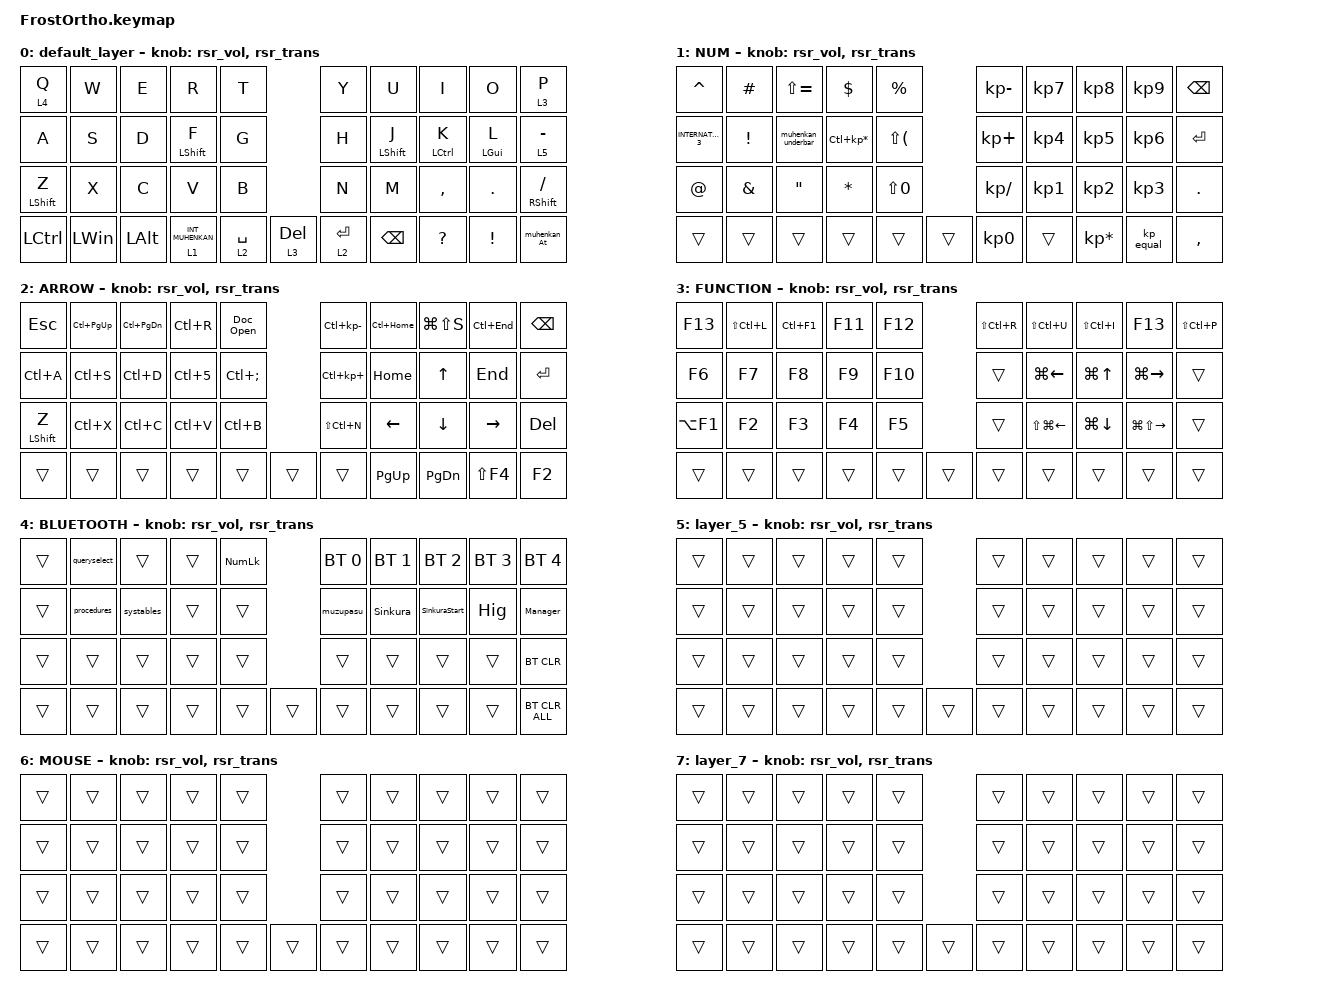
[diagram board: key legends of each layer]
#include <input/processors.dtsi>
#include <behaviors/runtime-sensor-rotate.dtsi>
#include <behaviors/runtime-sensor-rotate.dtsi>
#include <behaviors.dtsi>
#include <dt-bindings/zmk/bt.h>
#include <dt-bindings/zmk/keys.h>
#include <dt-bindings/zmk/pointing.h>

// OS設定を日本語キーボードのまま使用するための変換定義

#define JP_DQUOTE       AT
#define JP_AMPERSAND    CARET
#define JP_QUOTE        AMPERSAND
#define JP_EQUAL        UNDER
#define JP_CARET        EQUAL
#define JP_YEN          0x89
#define JP_PLUS         COLON
#define JP_TILDE        PLUS
#define JP_PIPE         LS(0x89)
#define JP_AT           LEFT_BRACKET
#define JP_COLON        SINGLE_QUOTE
#define JP_ASTERISK     DOUBLE_QUOTES
#define JP_BACKQUOTE    LEFT_BRACE
#define JP_UNDERSCORE   LS(0x87)
#define JP_SEMICOLON    SEMICOLON
#define JP_LBRACKET     RIGHT_BRACKET
#define JP_RBRACKET     BACKSLASH
#define JP_LPAREN       ASTERISK
#define JP_RPAREN       LEFT_PARENTHESIS
#define JP_LBRACE       RIGHT_BRACE
#define JP_RBRACE       PIPE
#define JP_KANA         LANGUAGE_1
#define JP_EISU         LANGUAGE_2
#define JP_HANZEN       GRAVE

//

#define MOUSE 6

&mt {
    flavor = "balanced";
    quick-tap-ms = <0>;
};

// AML クリックしたときにタイムアウトを延長

&mkp_input_listener { input-processors = <&zip_temp_layer 6 10000>; };

/ {
    combos {
        compatible = "zmk,combos";

        esc {
            bindings = <&kp ESCAPE>;
            key-positions = <0 1>;
        };

        tab {
            bindings = <&kp TAB>;
            key-positions = <10 11>;
        };

        lang2 {
            bindings = <&kp LANGUAGE_2>;
            key-positions = <12 13>;
        };

        lang1 {
            bindings = <&kp LANGUAGE_1>;
            key-positions = <16 17>;
        };

        ControlZ {
            bindings = <&kp LC(Z)>;
            key-positions = <20 21>;
        };

        controlC {
            bindings = <&kp LC(LS(C))>;
            key-positions = <21 22>;
        };

        controlV {
            bindings = <&kp LC(LS(V))>;
            key-positions = <22 23>;
        };

        controlD {
            bindings = <&kp LC(D)>;
            key-positions = <11 12>;
        };

        leftclick {
            bindings = <&mkp MB1>;
            key-positions = <6 7>;
        };

        rightclick {
            bindings = <&mkp MB2>;
            key-positions = <7 8>;
        };

        WindowsLock {
            bindings = <&kp LG(L)>;
            key-positions = <5 9>;
        };

        backclick {
            bindings = <&mkp MB4>;
            key-positions = <8 9>;
        };

        parenthess {
            bindings = <&parentheses>;
            key-positions = <16 15>;
        };

        bracket {
            bindings = <&brackets>;
            key-positions = <25 26>;
        };

        coron {
            bindings = <&kp APOSTROPHE>;
            key-positions = <5 6>;
        };

        Semicolon {
            bindings = <&kp SEMICOLON>;
            key-positions = <36 37>;
        };
    };

    macros {
        to_layer_0: to_layer_0 {
            compatible = "zmk,behavior-macro-one-param";
            #binding-cells = <1>;
            bindings = <&to 0 &macro_param_1to1 &kp MACRO_PLACEHOLDER>;
            label = "TO_LAYER_0";
        };

        screenshot: screenshot {
            compatible = "zmk,behavior-macro";
            #binding-cells = <0>;
            bindings =
                <&to 7>,
                <&macro_press>,
                <&kp LEFT_WIN &kp LEFT_SHIFT &kp S>,
                <&macro_release>,
                <&kp LEFT_WIN &kp LEFT_SHIFT &kp S>;

            label = "SCREENSHOT";
        };

        muhenkan_At: muhenkan_At {
            compatible = "zmk,behavior-macro";
            #binding-cells = <0>;
            bindings = <&kp LANGUAGE_2 &kp LEFT_BRACKET>;
            label = "MUHENKAN_AT";
        };

        Doc_Open: Doc_Open {
            compatible = "zmk,behavior-macro";
            #binding-cells = <0>;
            bindings =
                <&kp LC(C)>,
                <&macro_wait_time 1000>,
                <&kp LG(R)>,
                <&macro_wait_time 1000>,
                <&kp LC(V)>,
                <&macro_wait_time 750>,
                <&kp KP_ENTER>;

            label = "DOC_OPEN";
        };

        muhenkan_underbar: muhenkan_underbar {
            compatible = "zmk,behavior-macro";
            #binding-cells = <0>;
            bindings = <&kp LANGUAGE_2 &kp JP_UNDERSCORE>;
            label = "MUHENKAN_UNDERBAR";
        };

        parentheses: parentheses {
            compatible = "zmk,behavior-macro";
            #binding-cells = <0>;
            bindings = <&kp LANGUAGE_2 &kp ASTERISK &kp LEFT_PARENTHESIS &kp LEFT_ARROW>;
            label = "PARENTHESES";
        };

        kp_equal: kp_equal {
            compatible = "zmk,behavior-macro";
            #binding-cells = <0>;
            bindings = <&kp LANGUAGE_2 &kp LS(UNDERSCORE)>;
            label = "KP_EQUAL";
        };

        kp_00: kp_00 {
            compatible = "zmk,behavior-macro";
            #binding-cells = <0>;
            bindings = <&kp KP_NUMBER_0 &kp KP_NUMBER_0>;
            label = "KP_00";
        };

        queryselect: queryselect {
            compatible = "zmk,behavior-macro";
            #binding-cells = <0>;
            bindings = <&kp S &kp E &kp L &kp E &kp C &kp T &kp SPACE &kp DOUBLE_QUOTES &kp SPACE &kp RET &kp F &kp R &kp O &kp M &kp SPACE>;
            label = "QUERYSELECT";
        };

        brackets: brackets {
            compatible = "zmk,behavior-macro";
            #binding-cells = <0>;
            bindings = <&kp LANGUAGE_2 &kp RBKT &kp BSLH &kp LEFT_ARROW>;
            label = "BRACKETS";
        };

        muzupasu: muzupasu {
            compatible = "zmk,behavior-macro";
            #binding-cells = <0>;
            bindings = <&kp LS(P) &kp LEFT_BRACKET &kp S &kp S &kp W &kp N0 &kp R &kp D>;
            label = "MUZUPASU";
        };

        Sinkura: Sinkura {
            compatible = "zmk,behavior-macro";
            #binding-cells = <0>;
            bindings = <&kp M &kp LS(R) &kp N8 &kp J &kp F &kp POUND &kp V &kp W &kp LS(A) &kp A &kp Y>;
            label = "SINKURA";
        };

        SinkuraStart: SinkuraStart {
            compatible = "zmk,behavior-macro";
            #binding-cells = <0>;
            bindings = <&kp LS(S) &kp E &kp C &kp U &kp R &kp E &kp LEFT_BRACKET &kp N0 &kp B &kp EXCL &kp C &kp N7>;
            label = "SINKURASTART";
        };

        sp_helptext: sp_helptext {
            compatible = "zmk,behavior-macro";
            #binding-cells = <0>;
            bindings = <&none &kp S &kp P &kp UNDER &kp H &kp E &kp L &kp P &kp T &kp E &kp X &kp T>;
            label = "SP_HELPTEXT";
        };

        procedures: procedures {
            compatible = "zmk,behavior-macro";
            #binding-cells = <0>;
            bindings = <&none &kp S &kp Y &kp S &kp DOT &kp P &kp R &kp O &kp C &kp E &kp D &kp U &kp R &kp E &kp S &kp S &kp Y &kp S &kp DOT &kp P &kp R &kp O &kp C &kp E &kp D &kp U &kp R &kp E &kp S &kp RET &kp W &kp H &kp E &kp R &kp E &kp SPACE &kp N &kp A &kp M &kp E &kp SPACE &kp L &kp I &kp K &kp E &kp SPACE &kp SQT &kp PRCNT &kp PRCNT &kp SQT>;
            label = "PROCEDURES";
        };

        systables: systables {
            compatible = "zmk,behavior-macro";
            #binding-cells = <0>;
            bindings = <&kp S &kp Y &kp S &kp DOT &kp T &kp A &kp B &kp L &kp E &kp S &kp RET &kp W &kp H &kp E &kp R &kp E &kp SPACE &kp N &kp A &kp M &kp E &kp SPACE &kp L &kp I &kp K &kp E &kp SPACE &kp SQT &kp PRCNT &kp PRCNT &kp SQT>;
            label = "SYSTABLES";
        };

        mstsc: mstsc {
            compatible = "zmk,behavior-macro";
            #binding-cells = <0>;
            bindings =
                <&kp LG(R)>,
                <&macro_wait_time 1000>,
                <&kp M &kp S &kp T &kp S &kp C &kp KP_ENTER>;

            label = "MSTSC";
        };

        Hig: Hig {
            compatible = "zmk,behavior-macro";
            #binding-cells = <0>;
            bindings = <&kp N5 &kp N0 &kp N0 &kp D &kp LEFT_BRACKET &kp Y &kp S &kp EXCL &kp LS(H) &kp N1 &kp G>;
            label = "HIG";
        };

        Manager: Manager {
            compatible = "zmk,behavior-macro";
            #binding-cells = <0>;
            bindings =
                <&none>,
                <&macro_press>,
                <&kp LS(B) &kp LS(I) &kp LS(C) &kp N7 &kp LS(M) &kp A &kp N &kp A &kp G &kp E &kp R>;

            label = "MANAGER";
        };
    };

    behaviors {
        lt_to_layer_0: lt_to_layer_0 {
            compatible = "zmk,behavior-hold-tap";
            label = "LAYER_TAP_TO_0";
            bindings = <&mo>, <&to_layer_0>;

            #binding-cells = <2>;
            tapping-term-ms = <300>;
        };

        // Kyemap Editor用

        scroll_up_down: behavior_sensor_rotate_mouse_wheel_up_down {
            compatible = "zmk,behavior-sensor-rotate";
            #sensor-binding-cells = <0>;
            tap-ms = <20>;
            bindings = <&msc SCRL_UP>, <&msc SCRL_DOWN>;
        };

        vol_up_down: vol_up_down {
            compatible = "zmk,behavior-sensor-rotate";
            #sensor-binding-cells = <0>;
            tap-ms = <5>;
            bindings = <&kp C_VOL_DN>, <&kp C_VOL_UP>;
        };

        // DYA Studio用

        rsr_vol: rsr_vol {
            compatible = "zmk,behavior-runtime-sensor-rotate";
            #sensor-binding-cells = <0>;
            tap-ms = <5>;
            cw-binding = <&kp C_VOL_DN>;
            ccw-binding = <&kp C_VOL_UP>;
        };
    };

    keymap {
        compatible = "zmk,keymap";

        default_layer {
            bindings = <
&lt 4 Q           &kp W         &kp E         &kp R               &kp T                          &kp Y        &kp U             &kp I         &kp O           &lt 3 P
&kp A             &kp S         &kp D         &mt LEFT_SHIFT F    &kp G                          &kp H        &mt LEFT_SHIFT J  &mt LCTRL K   &mt LEFT_GUI L  &lt 5 MINUS
&mt LEFT_SHIFT Z  &kp X         &kp C         &kp V               &kp B                          &kp N        &kp M             &kp COMMA     &kp PERIOD      &mt RSHIFT SLASH
&kp LEFT_CONTROL  &kp LEFT_WIN  &kp LEFT_ALT  &lt 1 INT_MUHENKAN  &lt 2 SPACE  &lt 3 DELETE      &lt 2 ENTER  &kp BACKSPACE     &kp QUESTION  &kp EXCL        &muhenkan_At
            >;

            sensor-bindings = <&rsr_vol &rsr_trans>;
        };

        NUM {
            bindings = <
&kp CARET            &kp HASH         &kp LS(EQUAL)       &kp DOLLAR           &kp PERCENT                           &kp KP_MINUS     &kp KP_NUMBER_7  &kp KP_NUMBER_8  &kp KP_NUMBER_9  &kp BACKSPACE
&kp INTERNATIONAL_3  &kp EXCLAMATION  &muhenkan_underbar  &kp LC(KP_MULTIPLY)  &kp LS(LEFT_PARENTHESIS)              &kp KP_PLUS      &kp KP_NUMBER_4  &kp KP_NUMBER_5  &kp KP_NUMBER_6  &kp ENTER
&kp AT_SIGN          &kp AMPERSAND    &kp DOUBLE_QUOTES   &kp ASTERISK         &kp LS(N0)                            &kp KP_SLASH     &kp KP_N1        &kp KP_NUMBER_2  &kp KP_NUMBER_3  &kp PERIOD
&trans               &trans           &trans              &trans               &trans                    &trans      &kp KP_NUMBER_0  &trans           &kp KP_MULTIPLY  &kp_equal        &kp COMMA
            >;

            sensor-bindings = <&rsr_vol &rsr_trans>;
        };

        ARROW {
            bindings = <
&kp ESCAPE        &kp LC(PAGE_UP)  &kp LC(PAGE_DOWN)  &kp LC(R)   &Doc_Open                      &kp LC(KP_MINUS)  &kp LC(HOME)  &kp LG(LS(S))  &kp LC(END)  &kp BACKSPACE
&kp LC(A)         &kp LC(S)        &kp LC(D)          &kp LC(N5)  &kp LC(SEMICOLON)              &kp LC(KP_PLUS)   &kp HOME      &kp UP_ARROW   &kp END      &kp ENTER
&mt LEFT_SHIFT Z  &kp LC(X)        &kp LC(C)          &kp LC(V)   &kp LC(B)                      &kp LS(LC(N))     &kp LEFT      &kp DOWN       &kp RIGHT    &kp DELETE
&trans            &trans           &trans             &trans      &trans             &trans      &trans            &kp PG_UP     &kp PAGE_DOWN  &kp LS(F4)   &kp F2
            >;

            sensor-bindings = <&rsr_vol &rsr_trans>;
        };

        FUNCTION {
            bindings = <
&kp F13     &kp LS(LC(L))  &kp LC(F1)  &kp F11  &kp F12              &kp LS(LC(R))  &kp LS(LC(U))       &kp LS(LC(I))       &kp F13            &kp LS(LC(P))
&kp F6      &kp F7         &kp F8      &kp F9   &kp F10              &trans         &kp LG(LEFT_ARROW)  &kp LG(UP_ARROW)    &kp LG(RIGHT)      &trans
&kp LA(F1)  &kp F2         &kp F3      &kp F4   &kp F5               &trans         &kp LS(LG(LEFT))    &kp LG(DOWN_ARROW)  &kp LG(LS(RIGHT))  &trans
&trans      &trans         &trans      &trans   &trans   &trans      &trans         &trans              &trans              &trans             &trans
            >;

            sensor-bindings = <&rsr_vol &rsr_trans>;
        };

        BLUETOOTH {
            bindings = <
&trans  &queryselect  &trans      &trans  &kp KP_NUMLOCK              &bt BT_SEL 0  &bt BT_SEL 1  &bt BT_SEL 2   &bt BT_SEL 3  &bt BT_SEL 4
&trans  &procedures   &systables  &trans  &trans                      &muzupasu     &Sinkura      &SinkuraStart  &Hig          &Manager
&trans  &trans        &trans      &trans  &trans                      &trans        &trans        &trans         &trans        &bt BT_CLR
&trans  &trans        &trans      &trans  &trans          &trans      &trans        &trans        &trans         &trans        &bt BT_CLR_ALL
            >;

            sensor-bindings = <&rsr_vol &rsr_trans>;
        };

        layer_5 {
            bindings = <
&trans  &trans  &trans  &trans  &trans              &trans  &trans  &trans  &trans  &trans
&trans  &trans  &trans  &trans  &trans              &trans  &trans  &trans  &trans  &trans
&trans  &trans  &trans  &trans  &trans              &trans  &trans  &trans  &trans  &trans
&trans  &trans  &trans  &trans  &trans  &trans      &trans  &trans  &trans  &trans  &trans
            >;

            sensor-bindings = <&rsr_vol &rsr_trans>;
        };

        MOUSE {
            bindings = <
&trans  &trans  &trans  &trans  &trans              &trans  &trans  &trans  &trans  &trans
&trans  &trans  &trans  &trans  &trans              &trans  &trans  &trans  &trans  &trans
&trans  &trans  &trans  &trans  &trans              &trans  &trans  &trans  &trans  &trans
&trans  &trans  &trans  &trans  &trans  &trans      &trans  &trans  &trans  &trans  &trans
            >;

            sensor-bindings = <&rsr_vol &rsr_trans>;
        };

        layer_7 {
            bindings = <
&trans  &trans  &trans  &trans  &trans              &trans  &trans  &trans  &trans  &trans
&trans  &trans  &trans  &trans  &trans              &trans  &trans  &trans  &trans  &trans
&trans  &trans  &trans  &trans  &trans              &trans  &trans  &trans  &trans  &trans
&trans  &trans  &trans  &trans  &trans  &trans      &trans  &trans  &trans  &trans  &trans
            >;

            sensor-bindings = <&rsr_vol &rsr_trans>;
        };
    };
};
